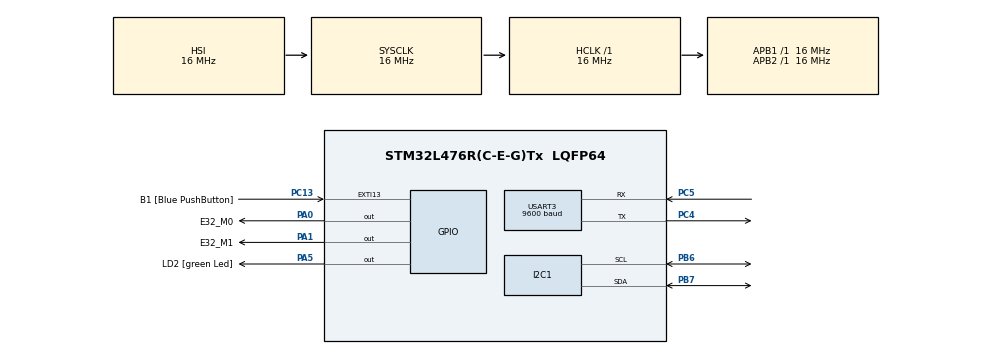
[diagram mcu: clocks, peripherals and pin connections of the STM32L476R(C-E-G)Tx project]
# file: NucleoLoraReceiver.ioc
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Mcu.Family=STM32L4
NVIC.USART3_IRQn=true\:0\:0\:false\:false\:true\:true\:true
PA2.GPIO_PuPd=GPIO_NOPULL
RCC.CortexFreq_Value=16000000
PH0-OSC_IN\ (PH0).Signal=RCC_OSC_IN
PA3.GPIO_PuPd=GPIO_NOPULL
PA0.GPIO_Label=E32_M0
PA2.GPIO_Speed=GPIO_SPEED_FREQ_VERY_HIGH
PC15-OSC32_OUT\ (PC15).Mode=LSE-External-Oscillator
PC5.Mode=Asynchronous
PC13.GPIO_Label=B1 [Blue PushButton]
PA3.GPIO_Speed=GPIO_SPEED_FREQ_VERY_HIGH
RCC.SYSCLKSource=RCC_SYSCLKSOURCE_HSI
ProjectManager.StackSize=0x400
PB3\ (JTDO-TRACESWO).Signal=SYS_JTDO-SWO
PC14-OSC32_IN\ (PC14).Mode=LSE-External-Oscillator
USART3.VirtualMode-Asynchronous=VM_ASYNC
PA14\ (JTCK-SWCLK).Signal=SYS_JTCK-SWCLK
USART3.BaudRate=9600
RCC.HCLKFreq_Value=16000000
RCC.APB2TimFreq_Value=16000000
PB6.Signal=I2C1_SCL
PB6.Mode=I2C
RCC.AHBFreq_Value=16000000
RCC.PREFETCH_ENABLE=1
RCC.HSE_VALUE=8000000
PA5.GPIO_PuPd=GPIO_NOPULL
PC13.GPIO_PuPd=GPIO_NOPULL
PB7.Signal=I2C1_SDA
PA0.Signal=GPIO_Output
Mcu.Package=LQFP64
PA2.GPIO_Label=USART_TX
RCC.APB1TimFreq_Value=16000000
PC5.Signal=USART3_RX
PA13\ (JTMS-SWDIO).Signal=SYS_JTMS-SWDIO
PC4.Mode=Asynchronous
PA3.Signal=USART2_RX
PA2.GPIO_Mode=GPIO_MODE_AF_PP
RCC.MSI_VALUE=4000000
RCC.PLLSourceVirtual=RCC_PLLSOURCE_HSI
PA14\ (JTCK-SWCLK).Mode=Serial_Wire
PC13.Signal=GPXTI13
RCC.I2C1CLockSelection=RCC_I2C1CLKSOURCE_HSI
PC4.Signal=USART3_TX
PC15-OSC32_OUT\ (PC15).Signal=RCC_OSC32_OUT
PA14\ (JTCK-SWCLK).GPIO_Label=TCK
PB3\ (JTDO-TRACESWO).GPIO_Label=SWO
PH1-OSC_OUT\ (PH1).Signal=RCC_OSC_OUT
ProjectManager.TargetToolchain=STM32CubeIDE
PA3.GPIO_Mode=GPIO_MODE_AF_PP
I2C1.Timing=0x00303D5B
RCC.USBFreq_Value=64000000
PA1.Signal=GPIO_Output
PA5.Signal=GPIO_Output
board=NUCLEO-L476RG
RCC.VCOOutputFreq_Value=160000000
RCC.APB2Freq_Value=16000000
PA5.GPIO_ModeDefaultOutputPP=GPIO_MODE_OUTPUT_PP
PA13\ (JTMS-SWDIO).GPIO_Label=TMS
RCC.ADCFreq_Value=64000000
PA1.GPIO_Label=E32_M1
Mcu.Name=STM32L476R(C-E-G)Tx
PA2.Signal=USART2_TX
PA13\ (JTMS-SWDIO).Mode=Serial_Wire
RCC.SYSCLKFreq_VALUE=16000000
PA5.GPIO_Label=LD2 [green Led]
PC13.GPIO_ModeDefaultEXTI=GPIO_MODE_IT_FALLING
PC14-OSC32_IN\ (PC14).Signal=RCC_OSC32_IN
PB7.Mode=I2C
ProjectManager.HeapSize=0x200
RCC.HSI_VALUE=16000000
PA5.GPIO_Speed=GPIO_SPEED_FREQ_LOW
NVIC.PriorityGroup=NVIC_PRIORITYGROUP_4
RCC.PLLN=10
RCC.APB1Freq_Value=16000000
RCC.USART3CLockSelection=RCC_USART3CLKSOURCE_HSI
PA3.GPIO_Label=USART_RX

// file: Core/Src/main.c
/* USER CODE BEGIN Header */
/**
  ******************************************************************************
  * @file           : main.c
  * @brief          : Main program body
  ******************************************************************************
  * @attention
  *
  * <h2><center>&copy; Copyright (c) 2021 STMicroelectronics.
  * All rights reserved.</center></h2>
  *
  * This software component is licensed by ST under BSD 3-Clause license,
  * the "License"; You may not use this file except in compliance with the
  * License. You may obtain a copy of the License at:
  *                        opensource.org/licenses/BSD-3-Clause
  *
  ******************************************************************************
  */
/* USER CODE END Header */
#include "main.h"

/* USER CODE BEGIN Includes */
#include <string.h>
#include "lcd20x4_i2c.h"

/* USER CODE END Includes */

I2C_HandleTypeDef hi2c1;

UART_HandleTypeDef huart3;

/* USER CODE BEGIN PV */
uint8_t rxBuffer[40] = {0};
uint8_t rxChar;
uint8_t rxIndex = 0;
uint8_t term = '\r';
bool parse = false;
bool config = true;
/* USER CODE END PV */

void SystemClock_Config(void);
static void MX_GPIO_Init(void);
static void MX_I2C1_Init(void);
static void MX_USART3_UART_Init(void);
/* USER CODE BEGIN PFP */
void toggleLED(void);
void startIndicator(void);
void e32Configure(void);
void parseMessage(void);
void initDisplay(void);
/* USER CODE END PFP */

int main(void)
{

  /* MCU Configuration--------------------------------------------------------*/

  /* Reset of all peripherals, Initializes the Flash interface and the Systick. */
  HAL_Init();

  /* Configure the system clock */
  SystemClock_Config();

  /* Initialize all configured peripherals */
  MX_GPIO_Init();
  MX_I2C1_Init();
  MX_USART3_UART_Init();
  /* USER CODE BEGIN 2 */

  // flash LED to indicate start
  startIndicator();

  // start uart rx interrupt
  HAL_UART_Receive_IT(&huart3, &rxChar, 1);

  // configure LoRa module
  e32Configure();

  // clear config flag
  config = false;

  // initialise display
  initDisplay();

  /* USER CODE END 2 */

  /* Infinite loop */
  while (1)
  {

    /* USER CODE BEGIN 3 */
	  // check parse flag, parse message
	  if (parse) parseMessage();
  }
  /* USER CODE END 3 */
}

void SystemClock_Config(void)
{
  RCC_OscInitTypeDef RCC_OscInitStruct = {0};
  RCC_ClkInitTypeDef RCC_ClkInitStruct = {0};
  RCC_PeriphCLKInitTypeDef PeriphClkInit = {0};

  /** Initializes the RCC Oscillators according to the specified parameters
  * in the RCC_OscInitTypeDef structure.
  */
  RCC_OscInitStruct.OscillatorType = RCC_OSCILLATORTYPE_HSI;
  RCC_OscInitStruct.HSIState = RCC_HSI_ON;
  RCC_OscInitStruct.HSICalibrationValue = RCC_HSICALIBRATION_DEFAULT;
  RCC_OscInitStruct.PLL.PLLState = RCC_PLL_NONE;
  if (HAL_RCC_OscConfig(&RCC_OscInitStruct) != HAL_OK)
  {
    Error_Handler();
  }
  /** Initializes the CPU, AHB and APB buses clocks
  */
  RCC_ClkInitStruct.ClockType = RCC_CLOCKTYPE_HCLK|RCC_CLOCKTYPE_SYSCLK
                              |RCC_CLOCKTYPE_PCLK1|RCC_CLOCKTYPE_PCLK2;
  RCC_ClkInitStruct.SYSCLKSource = RCC_SYSCLKSOURCE_HSI;
  RCC_ClkInitStruct.AHBCLKDivider = RCC_SYSCLK_DIV1;
  RCC_ClkInitStruct.APB1CLKDivider = RCC_HCLK_DIV1;
  RCC_ClkInitStruct.APB2CLKDivider = RCC_HCLK_DIV1;

  if (HAL_RCC_ClockConfig(&RCC_ClkInitStruct, FLASH_LATENCY_0) != HAL_OK)
  {
    Error_Handler();
  }
  PeriphClkInit.PeriphClockSelection = RCC_PERIPHCLK_USART3|RCC_PERIPHCLK_I2C1;
  PeriphClkInit.Usart3ClockSelection = RCC_USART3CLKSOURCE_HSI;
  PeriphClkInit.I2c1ClockSelection = RCC_I2C1CLKSOURCE_HSI;
  if (HAL_RCCEx_PeriphCLKConfig(&PeriphClkInit) != HAL_OK)
  {
    Error_Handler();
  }
  /** Configure the main internal regulator output voltage
  */
  if (HAL_PWREx_ControlVoltageScaling(PWR_REGULATOR_VOLTAGE_SCALE1) != HAL_OK)
  {
    Error_Handler();
  }
}

static void MX_I2C1_Init(void)
{

  hi2c1.Instance = I2C1;
  hi2c1.Init.Timing = 0x00303D5B;
  hi2c1.Init.OwnAddress1 = 0;
  hi2c1.Init.AddressingMode = I2C_ADDRESSINGMODE_7BIT;
  hi2c1.Init.DualAddressMode = I2C_DUALADDRESS_DISABLE;
  hi2c1.Init.OwnAddress2 = 0;
  hi2c1.Init.OwnAddress2Masks = I2C_OA2_NOMASK;
  hi2c1.Init.GeneralCallMode = I2C_GENERALCALL_DISABLE;
  hi2c1.Init.NoStretchMode = I2C_NOSTRETCH_DISABLE;
  if (HAL_I2C_Init(&hi2c1) != HAL_OK)
  {
    Error_Handler();
  }
  /** Configure Analogue filter
  */
  if (HAL_I2CEx_ConfigAnalogFilter(&hi2c1, I2C_ANALOGFILTER_ENABLE) != HAL_OK)
  {
    Error_Handler();
  }
  /** Configure Digital filter
  */
  if (HAL_I2CEx_ConfigDigitalFilter(&hi2c1, 0) != HAL_OK)
  {
    Error_Handler();
  }

}

static void MX_USART3_UART_Init(void)
{

  huart3.Instance = USART3;
  huart3.Init.BaudRate = 9600;
  huart3.Init.WordLength = UART_WORDLENGTH_8B;
  huart3.Init.StopBits = UART_STOPBITS_1;
  huart3.Init.Parity = UART_PARITY_NONE;
  huart3.Init.Mode = UART_MODE_TX_RX;
  huart3.Init.HwFlowCtl = UART_HWCONTROL_NONE;
  huart3.Init.OverSampling = UART_OVERSAMPLING_16;
  huart3.Init.OneBitSampling = UART_ONE_BIT_SAMPLE_DISABLE;
  huart3.AdvancedInit.AdvFeatureInit = UART_ADVFEATURE_NO_INIT;
  if (HAL_UART_Init(&huart3) != HAL_OK)
  {
    Error_Handler();
  }

}

static void MX_GPIO_Init(void)
{
  GPIO_InitTypeDef GPIO_InitStruct = {0};

  /* GPIO Ports Clock Enable */
  __HAL_RCC_GPIOC_CLK_ENABLE();
  __HAL_RCC_GPIOH_CLK_ENABLE();
  __HAL_RCC_GPIOA_CLK_ENABLE();
  __HAL_RCC_GPIOB_CLK_ENABLE();

  /*Configure GPIO pin Output Level */
  HAL_GPIO_WritePin(GPIOA, E32_M0_Pin|E32_M1_Pin|LD2_Pin, GPIO_PIN_RESET);

  /*Configure GPIO pin : B1_Pin */
  GPIO_InitStruct.Pin = B1_Pin;
  GPIO_InitStruct.Mode = GPIO_MODE_IT_FALLING;
  GPIO_InitStruct.Pull = GPIO_NOPULL;
  HAL_GPIO_Init(B1_GPIO_Port, &GPIO_InitStruct);

  /*Configure GPIO pins : E32_M0_Pin E32_M1_Pin LD2_Pin */
  GPIO_InitStruct.Pin = E32_M0_Pin|E32_M1_Pin|LD2_Pin;
  GPIO_InitStruct.Mode = GPIO_MODE_OUTPUT_PP;
  GPIO_InitStruct.Pull = GPIO_NOPULL;
  GPIO_InitStruct.Speed = GPIO_SPEED_FREQ_LOW;
  HAL_GPIO_Init(GPIOA, &GPIO_InitStruct);

  /*Configure GPIO pins : USART_TX_Pin USART_RX_Pin */
  GPIO_InitStruct.Pin = USART_TX_Pin|USART_RX_Pin;
  GPIO_InitStruct.Mode = GPIO_MODE_AF_PP;
  GPIO_InitStruct.Pull = GPIO_NOPULL;
  GPIO_InitStruct.Speed = GPIO_SPEED_FREQ_VERY_HIGH;
  GPIO_InitStruct.Alternate = GPIO_AF7_USART2;
  HAL_GPIO_Init(GPIOA, &GPIO_InitStruct);

}

/* USER CODE BEGIN 4 */

//////////////////////////////
// General functions
//////////////////////////////

void toggleLED(void)
{
	HAL_GPIO_TogglePin(LD2_GPIO_Port, LD2_Pin);
}

// LED startup sequence
void startIndicator(void)
{
	for (int j=0; j < 10; j++)
	{
		toggleLED();
		HAL_Delay(100);
	}
}

void parseMessage()
{
	uint8_t size = sizeof(rxBuffer);
	char* value;
	void* ptr;
	char prefix[10];

	lcd20x4_i2c_clear();

	for (int i=0; i < 4; i++)
	{
		ptr = (i == 0) ? rxBuffer : NULL;
		value = strtok(ptr, ",");

		if (value == NULL) return;

		switch(i)
		{
			case 0:	strcpy(prefix, "Time");
					break;
			case 1:	strcpy(prefix, "CO2:");
					break;
			case 2:	strcpy(prefix, "Temp");
					break;
			case 3:	strcpy(prefix, "R.H.");
					break;
		}

		HAL_Delay(1);

		lcd20x4_i2c_setCursor(i,0);
		HAL_Delay(1);

		lcd20x4_i2c_printf("%s: %s", prefix, value);
		HAL_Delay(1);
	}

	// reset parse flag
	parse = false;

	// reset buffer contents
	memset(rxBuffer, 0, size);
}

void initDisplay(void)
{
	lcd20x4_i2c_init(&hi2c1);
	lcd20x4_i2c_clear();
	lcd20x4_i2c_setCursor(0,0);
	lcd20x4_i2c_cursorShow(false);

	lcd20x4_i2c_printf("LoRa Receiver");

	lcd20x4_i2c_setCursor(2,0);

	lcd20x4_i2c_printf("Waiting...");
}

//////////////////////////////
// E32 functions
//////////////////////////////

void e32Configure(void)
{
	uint8_t data[] = { 0xC2, 0x00, 0x01, 0x1A, 0x17, 0x44 };

	// set M0 and M1 high (config mode)
	HAL_GPIO_WritePin(E32_M0_GPIO_Port, E32_M0_Pin, GPIO_PIN_SET);
	HAL_GPIO_WritePin(E32_M1_GPIO_Port, E32_M1_Pin, GPIO_PIN_SET);

	HAL_Delay(100);

	HAL_UART_Transmit(&huart3, data, sizeof(data), 100);

	// short delay before putting into normal mode
	HAL_Delay(100);

	// set M0 and M1 low (normal mode)
	HAL_GPIO_WritePin(E32_M0_GPIO_Port, E32_M0_Pin, GPIO_PIN_RESET);
	HAL_GPIO_WritePin(E32_M1_GPIO_Port, E32_M1_Pin, GPIO_PIN_RESET);
}

//////////////////////////////
// ISRs
//////////////////////////////

void HAL_UART_RxCpltCallback(UART_HandleTypeDef *huart)
{
	if ((huart->Instance == USART3) && !config)
	{

		rxBuffer[rxIndex++] = rxChar;

		if (rxChar == term)
		{
			// null terminate buffer
			rxBuffer[--rxIndex] = 0;

			// reset index
			rxIndex = 0;

			// parse message
			toggleLED();

			// set parse flag
			parse = true;
		}
	}

	// reset interrupt
	HAL_UART_Receive_IT(&huart3, &rxChar, 1);
}
/* USER CODE END 4 */

void Error_Handler(void)
{
  __disable_irq();
  while (1)
  {
  }
}

/************************ (C) COPYRIGHT STMicroelectronics *****END OF FILE****/
